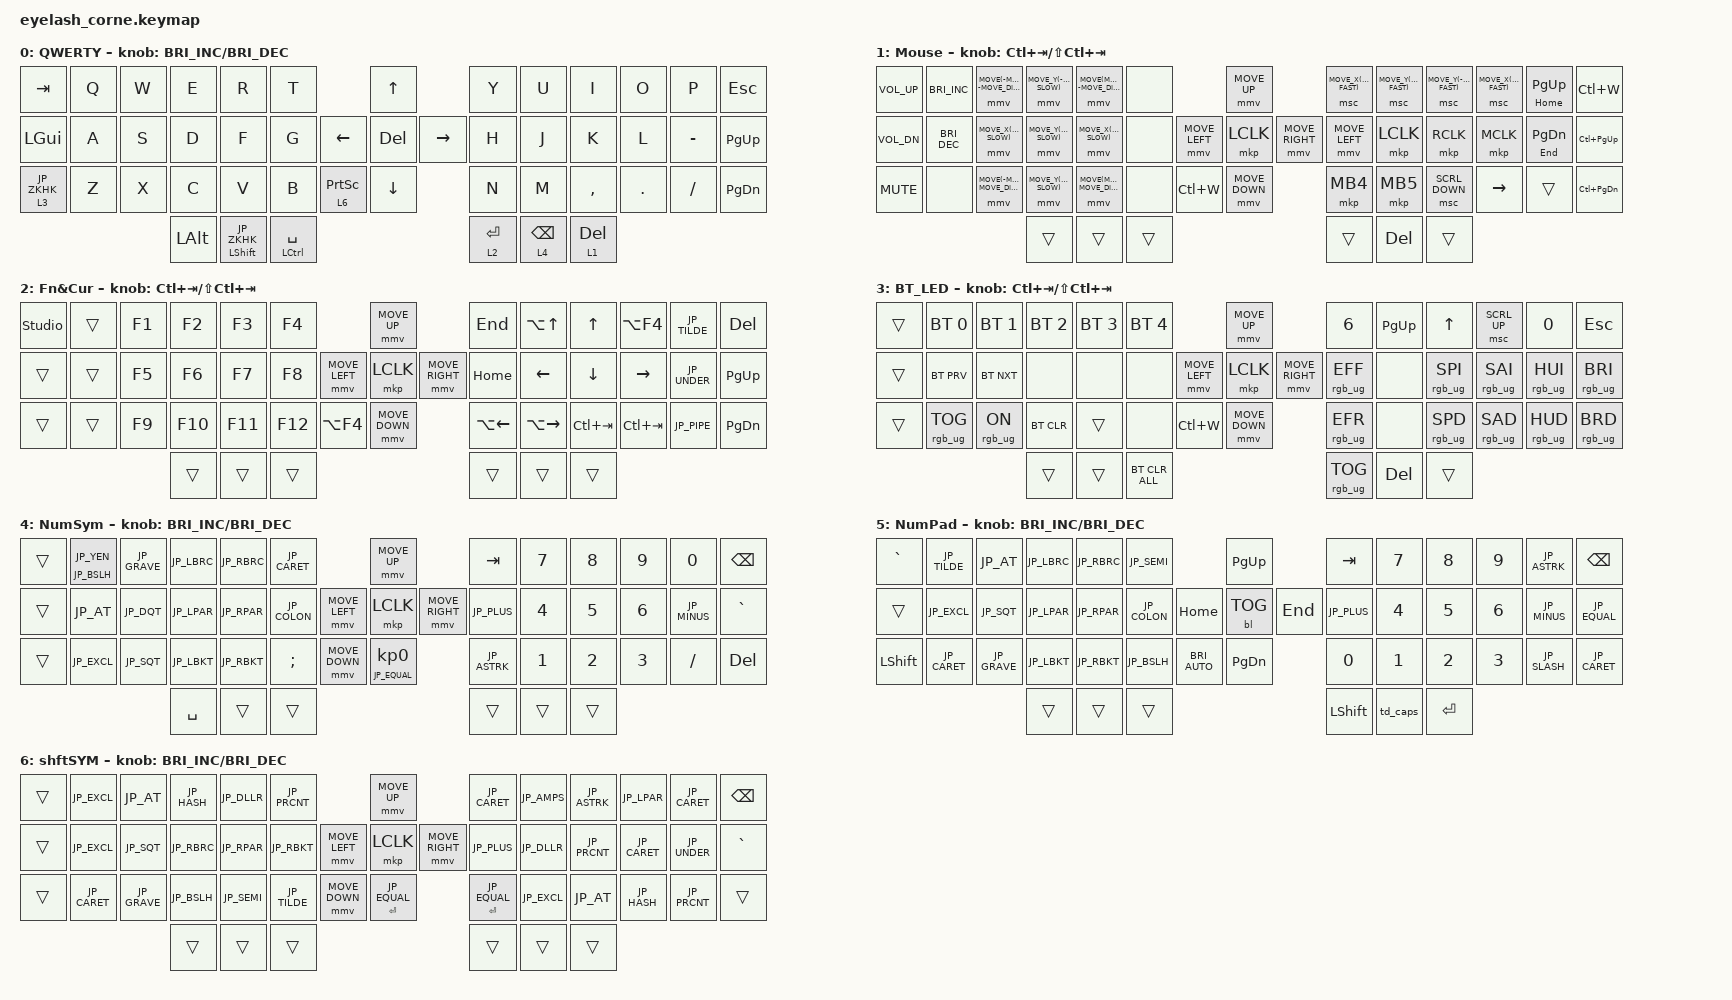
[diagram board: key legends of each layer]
#define ZMK_POINTING_DEFAULT_MOVE_VAL 1200  // 600
#define ZMK_POINTING_DEFAULT_SCRL_VAL 25   // 10
#define MOVE_SLOW 600   // slow cursor move (Mouse layer, left hand)
#define MOVE_DIAG 250   // diagonal cursor move (Mouse layer)
#define SCRL_FAST 150   // fast scroll (Mouse layer)

#include <input/processors.dtsi>
#include <input/processors/runtime-input-processor.dtsi>
#include <zephyr/dt-bindings/input/input-event-codes.h>
#include "unicode.h"
#include "keycode_japanese.h"
#include <behaviors.dtsi>
#include <behaviors/runtime_macro.dtsi>
#include <dt-bindings/zmk/backlight.h>
#include <dt-bindings/zmk/bt.h>
#include <dt-bindings/zmk/keys.h>
#include <dt-bindings/zmk/pointing.h>
#include <dt-bindings/zmk/rgb.h>

// Mouse move / scroll speed can be tuned at runtime from DYA Studio.
// Initial scale keeps the previous static setting (zip_xy_scaler / zip_scroll_scaler 2 1).
&mouse_runtime_input_processor {
    scale-multiplier = <2>;
    scale-divisor = <1>;
};

&scroll_runtime_input_processor {
    scale-multiplier = <2>;
    scale-divisor = <1>;
};

&mmv_input_listener { input-processors = <&mouse_runtime_input_processor>; };

&msc_input_listener { input-processors = <&scroll_runtime_input_processor>; };

&msc {
    acceleration-exponent = <1>;      // 0
    time-to-max-speed-ms = <100>;       // 300
    delay-ms = <0>;                   // 0
};

&mmv {
    time-to-max-speed-ms = <500>;
    acceleration-exponent = <1>;
    trigger-period-ms = <16>;
};

/ {
    behaviors {
        // Existing Shift/Caps Lock tap dance (renamed from td0, used on the NumPad layer)
        td_caps: td_caps {
            compatible = "zmk,behavior-tap-dance";
            display-name = "Shift/Caps Lock Tap Dance";
            #binding-cells = <0>;
            bindings = <&kp LEFT_SHIFT>, <&kp CAPS>;
        };

        // Tap dances for assigning from DYA Studio
        td0: td0 {
            compatible = "zmk,behavior-tap-dance";
            display-name = "TD ESC/ENTER";
            #binding-cells = <0>;
            tapping-term-ms = <200>;
            bindings = <&kp ESC>, <&kp ENTER>;
        };

        td1: td1 {
            compatible = "zmk,behavior-tap-dance";
            display-name = "TD C/V";
            #binding-cells = <0>;
            tapping-term-ms = <200>;
            bindings = <&kp C>, <&kp V>;
        };

        td2: td2 {
            compatible = "zmk,behavior-tap-dance";
            display-name = "TD J/K";
            #binding-cells = <0>;
            tapping-term-ms = <200>;
            bindings = <&kp J>, <&kp K>;
        };
    };

    rgb_encoder: rgb_encoder {
        compatible = "zmk,behavior-sensor-rotate";
        #sensor-binding-cells = <0>;
        bindings = <&rgb_ug RGB_BRI>, <&rgb_ug RGB_BRD>;
    };

    scroll_encoder: scroll_encoder {
        compatible = "zmk,behavior-sensor-rotate";
        #sensor-binding-cells = <0>;
        bindings = <&msc SCRL_DOWN>, <&msc SCRL_UP>;

        tap-ms = <100>;
    };

    macros {
        gmail_address: gmail_address {
            compatible = "zmk,behavior-macro";
            #binding-cells = <0>;
            bindings =
                <&none &kp K &kp N2 &kp DOT &kp D &kp R &kp U &kp M &kp S &kp AT &kp G &kp M &kp A &kp I &kp L &kp DOT &kp C &kp O &kp M &kp TAB>,
                <&macro_tap>;

            label = "GMAIL_ADDRESS";
        };
    };

    combos {
        compatible = "zmk,combos";

        printScreen {
            bindings = <&kp PRINTSCREEN>;
            key-positions = <13 15>;
        };
    };

    keymap {
        compatible = "zmk,keymap";

        default_layer {
            display-name = "QWERTY";
            bindings = <
&kp TAB        &kp Q  &kp W  &kp E     &kp R                   &kp T                               &kp UP                 &kp Y        &kp U       &kp I         &kp O    &kp P      &kp ESC
&kp LGUI       &kp A  &kp S  &kp D     &kp F                   &kp G            &kp LEFT           &kp DELETE  &kp RIGHT  &kp H        &kp J       &kp K         &kp L    &kp MINUS  &kp PAGE_UP
&lt 3 JP_ZKHK  &kp Z  &kp X  &kp C     &kp V                   &kp B            &lt 6 PRINTSCREEN  &kp DOWN               &kp N        &kp M       &kp COMMA     &kp DOT  &kp FSLH   &kp PAGE_DOWN
                             &kp LALT  &mt LEFT_SHIFT JP_ZKHK  &mt LCTRL SPACE                                            &lt 2 ENTER  &lt 4 BSPC  &lt 1 DELETE
            >;

            sensor-bindings = <&inc_dec_kp C_BRIGHTNESS_INC C_BRIGHTNESS_DEC>;
        };

        MouseLayer {
            display-name = "Mouse";
            bindings = <
&kp C_VOL_UP  &kp C_BRIGHTNESS_INC  &mmv MOVE(-MOVE_DIAG, -MOVE_DIAG)  &mmv MOVE_Y(-MOVE_SLOW)  &mmv MOVE(MOVE_DIAG, -MOVE_DIAG)  &none                   &mmv MOVE_UP                     &msc MOVE_X(-SCRL_FAST)  &msc MOVE_Y(SCRL_FAST)  &msc MOVE_Y(-SCRL_FAST)  &msc MOVE_X(SCRL_FAST)  &mt HOME PAGE_UP   &kp LC(W)
&kp C_VOL_DN  &kp C_BRIGHTNESS_DEC  &mmv MOVE_X(-MOVE_SLOW)            &mmv MOVE_Y(MOVE_SLOW)   &mmv MOVE_X(MOVE_SLOW)            &none   &mmv MOVE_LEFT  &mkp LCLK       &mmv MOVE_RIGHT  &mmv MOVE_LEFT           &mkp LCLK               &mkp RCLK                &mkp MCLK               &mt END PAGE_DOWN  &kp LC(PAGE_UP)
&kp C_MUTE    &none                 &mmv MOVE(-MOVE_DIAG, MOVE_DIAG)   &mmv MOVE_Y(MOVE_SLOW)   &mmv MOVE(MOVE_DIAG, MOVE_DIAG)   &none   &kp LC(W)       &mmv MOVE_DOWN                   &mkp MB4                 &mkp MB5                &msc SCRL_DOWN           &kp RIGHT               &trans             &kp LC(PAGE_DOWN)
                                                                       &trans                   &trans                            &trans                                                   &trans                   &kp DEL                 &trans
            >;

            sensor-bindings = <&inc_dec_kp LC(TAB) LS(LC(TAB))>;
        };

        layer_3 {
            display-name = "Fn&Cur";
            bindings = <
&studio_unlock  &trans  &kp F1  &kp F2   &kp F3   &kp F4                   &mmv MOVE_UP                     &kp END       &kp LA(UP)     &kp UP       &kp LA(F4)   &kp JP_TILDE  &kp DELETE
&trans          &trans  &kp F5  &kp F6   &kp F7   &kp F8   &mmv MOVE_LEFT  &mkp LCLK       &mmv MOVE_RIGHT  &kp HOME      &kp LEFT       &kp DOWN     &kp RIGHT    &kp JP_UNDER  &kp PAGE_UP
&trans          &trans  &kp F9  &kp F10  &kp F11  &kp F12  &kp LA(F4)      &mmv MOVE_DOWN                   &kp LA(LEFT)  &kp LA(RIGHT)  &kp LC(TAB)  &kp LC(TAB)  &kp JP_PIPE   &kp PAGE_DOWN
                                &trans   &trans   &trans                                                    &trans        &trans         &trans
            >;

            sensor-bindings = <&inc_dec_kp LC(TAB) LS(LC(TAB))>;
        };

        BT_setting {
            display-name = "BT_LED";
            bindings = <
&trans  &bt BT_SEL 0     &bt BT_SEL 1    &bt BT_SEL 2  &bt BT_SEL 3  &bt BT_SEL 4                    &mmv MOVE_UP                     &kp N6           &kp PG_UP  &kp UP           &msc SCRL_UP     &kp N0           &kp ESC
&trans  &bt BT_PRV       &bt BT_NXT      &none         &none         &none           &mmv MOVE_LEFT  &mkp LCLK       &mmv MOVE_RIGHT  &rgb_ug RGB_EFF  &none      &rgb_ug RGB_SPI  &rgb_ug RGB_SAI  &rgb_ug RGB_HUI  &rgb_ug RGB_BRI
&trans  &rgb_ug RGB_TOG  &rgb_ug RGB_ON  &bt BT_CLR    &trans        &none           &kp LC(W)       &mmv MOVE_DOWN                   &rgb_ug RGB_EFR  &none      &rgb_ug RGB_SPD  &rgb_ug RGB_SAD  &rgb_ug RGB_HUD  &rgb_ug RGB_BRD
                                         &trans        &trans        &bt BT_CLR_ALL                                                   &rgb_ug RGB_TOG  &kp DEL    &trans
            >;

            sensor-bindings = <&inc_dec_kp LC(TAB) LS(LC(TAB))>;
        };

        NumSYM {
            display-name = "NumSym";
            bindings = <
&trans  &mt JP_BSLH JP_YEN  &kp JP_GRAVE  &kp JP_LBRC  &kp JP_RBRC  &kp JP_CARET                  &mmv MOVE_UP                         &kp TAB       &kp N7  &kp N8  &kp N9  &kp N0        &kp BSPC
&trans  &kp JP_AT           &kp JP_DQT    &kp JP_LPAR  &kp JP_RPAR  &kp JP_COLON  &mmv MOVE_LEFT  &mkp LCLK           &mmv MOVE_RIGHT  &kp JP_PLUS   &kp N4  &kp N5  &kp N6  &kp JP_MINUS  &kp GRAVE
&trans  &kp JP_EXCL         &kp JP_SQT    &kp JP_LBKT  &kp JP_RBKT  &kp SEMI      &mmv MOVE_DOWN  &mt JP_EQUAL KP_N0                   &kp JP_ASTRK  &kp N1  &kp N2  &kp N3  &kp FSLH      &kp DELETE
                                          &kp SPACE    &trans       &trans                                                             &trans        &trans  &trans
            >;

            sensor-bindings = <&inc_dec_kp C_BRIGHTNESS_INC C_BRIGHTNESS_DEC>;
        };

        layer_4 {
            display-name = "NumPad";
            bindings = <
&kp GRAVE       &kp JP_TILDE  &kp JP_AT     &kp JP_LBRC  &kp JP_RBRC  &kp JP_SEMI                          &kp PG_UP            &kp TAB         &kp N7    &kp N8     &kp N9  &kp JP_ASTRK  &kp BACKSPACE
&trans          &kp JP_EXCL   &kp JP_SQT    &kp JP_LPAR  &kp JP_RPAR  &kp JP_COLON  &kp HOME               &bl BL_TOG  &kp END  &kp JP_PLUS     &kp N4    &kp N5     &kp N6  &kp JP_MINUS  &kp JP_EQUAL
&kp LEFT_SHIFT  &kp JP_CARET  &kp JP_GRAVE  &kp JP_LBKT  &kp JP_RBKT  &kp JP_BSLH   &kp C_BRIGHTNESS_AUTO  &kp PG_DN            &kp N0          &kp N1    &kp N2     &kp N3  &kp JP_SLASH  &kp JP_CARET
                                            &trans       &trans       &trans                                                    &kp LEFT_SHIFT  &td_caps  &kp ENTER
            >;

            sensor-bindings = <&inc_dec_kp C_BRIGHTNESS_INC C_BRIGHTNESS_DEC>;
        };

        layer_6 {
            display-name = "shftSYM";
            bindings = <
&trans  &kp JP_EXCL   &kp JP_AT     &kp JP_HASH  &kp JP_DLLR  &kp JP_PRCNT                  &mmv MOVE_UP                         &kp JP_CARET        &kp JP_AMPS  &kp JP_ASTRK  &kp JP_LPAR   &kp JP_CARET  &kp BSPC
&trans  &kp JP_EXCL   &kp JP_SQT    &kp JP_RBRC  &kp JP_RPAR  &kp JP_RBKT   &mmv MOVE_LEFT  &mkp LCLK           &mmv MOVE_RIGHT  &kp JP_PLUS         &kp JP_DLLR  &kp JP_PRCNT  &kp JP_CARET  &kp JP_UNDER  &kp GRAVE
&trans  &kp JP_CARET  &kp JP_GRAVE  &kp JP_BSLH  &kp JP_SEMI  &kp JP_TILDE  &mmv MOVE_DOWN  &mt ENTER JP_EQUAL                   &mt ENTER JP_EQUAL  &kp JP_EXCL  &kp JP_AT     &kp JP_HASH   &kp JP_PRCNT  &trans
                                    &trans       &trans       &trans                                                             &trans              &trans       &trans
            >;

            sensor-bindings = <&inc_dec_kp C_BRIGHTNESS_INC C_BRIGHTNESS_DEC>;
        };

        // Reserved layers: can be enabled/edited later from ZMK Studio / DYA Studio
        extra1 {
            status = "reserved";
        };

        extra2 {
            status = "reserved";
        };

        extra3 {
            status = "reserved";
        };

        extra4 {
            status = "reserved";
        };
    };
};
